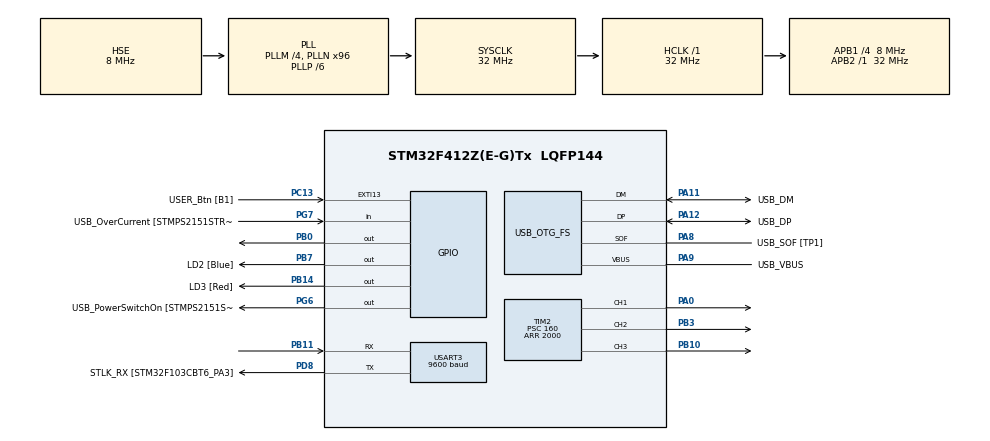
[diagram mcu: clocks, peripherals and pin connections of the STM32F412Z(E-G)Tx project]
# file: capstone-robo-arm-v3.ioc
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FREERTOS.Tasks01=TaskMoveMotor1,24,128,StartMoveMotor1,Default,NULL,Dynamic,NULL,NULL;TaskMoveMotor2,24,128,StartMoveMotor2,Default,NULL,Dynamic,NULL,NULL;TaskMoveMotor3,24,128,StartMoveMotor3,Default,NULL,Dynamic,NULL,NULL;TaskNewPosition,32,128,UpdatePosition,Default,NULL,Dynamic,NULL,NULL
FREERTOS.configUSE_NEWLIB_REENTRANT=1
Mcu.Family=STM32F4
Mcu.Name=STM32F412Z(E-G)Tx
Mcu.Package=LQFP144
NVIC.PriorityGroup=NVIC_PRIORITYGROUP_4
NVIC.TIM6_IRQn=true\:15\:0\:false\:false\:true\:false\:false\:true
NVIC.TimeBase=TIM6_IRQn
NVIC.TimeBaseIP=TIM6
NVIC.USART3_IRQn=true\:5\:0\:false\:false\:true\:true\:true\:true
PA0.Signal=S_TIM2_CH1_ETR
PA10.GPIO_Label=USB_ID
PA10.Signal=USB_OTG_FS_ID
PA11.GPIO_Label=USB_DM
PA11.Mode=Device_Only
PA11.Signal=USB_OTG_FS_DM
PA12.GPIO_Label=USB_DP
PA12.Mode=Device_Only
PA12.Signal=USB_OTG_FS_DP
PA13.GPIO_Label=TMS
PA13.Mode=Serial_Wire
PA13.Signal=SYS_JTMS-SWDIO
PA14.GPIO_Label=TCK
PA14.Mode=Serial_Wire
PA14.Signal=SYS_JTCK-SWCLK
PA8.GPIO_Label=USB_SOF [TP1]
PA8.Mode=Activate_SOF_FS
PA8.Signal=USB_OTG_FS_SOF
PA9.GPIO_Label=USB_VBUS
PA9.Mode=Activate_VBUS
PA9.Signal=USB_OTG_FS_VBUS
PB0.Signal=GPIO_Output
PB10.Signal=S_TIM2_CH3
PB11.Mode=Asynchronous
PB11.Signal=USART3_RX
PB14.GPIO_Label=LD3 [Red]
PB14.Signal=GPIO_Output
PB3.Signal=S_TIM2_CH2
PB7.GPIO_Label=LD2 [Blue]
PB7.Signal=GPIO_Output
PC13.GPIO_Label=USER_Btn [B1]
PC13.Signal=GPXTI13
PC14-OSC32_IN.Mode=LSE-External-Oscillator
PC14-OSC32_IN.Signal=RCC_OSC32_IN
PC15-OSC32_OUT.Mode=LSE-External-Oscillator
PC15-OSC32_OUT.Signal=RCC_OSC32_OUT
PD8.GPIO_Label=STLK_RX [STM32F103CBT6_PA3]
PD8.Mode=Asynchronous
PD8.Signal=USART3_TX
PG6.GPIO_Label=USB_PowerSwitchOn [STMPS2151STR_EN]
PG6.Signal=GPIO_Output
PG7.GPIO_Label=USB_OverCurrent [STMPS2151STR_FAULT]
PG7.Signal=GPIO_Input
PH0\ -\ OSC_IN.GPIO_Label=MCO
PH0\ -\ OSC_IN.Mode=HSE-External-Clock-Source
PH0\ -\ OSC_IN.Signal=RCC_OSC_IN
PH1\ -\ OSC_OUT.Mode=HSE-External-Clock-Source
PH1\ -\ OSC_OUT.Signal=RCC_OSC_OUT
ProjectManager.HeapSize=0x200
ProjectManager.StackSize=0x400
ProjectManager.TargetToolchain=STM32CubeIDE
RCC.48MHZClocksFreq_Value=24000000
RCC.AHBFreq_Value=32000000
RCC.APB1CLKDivider=RCC_HCLK_DIV4
RCC.APB1Freq_Value=8000000
RCC.APB1TimFreq_Value=16000000
RCC.APB2Freq_Value=32000000
RCC.APB2TimFreq_Value=32000000
RCC.CortexFreq_Value=32000000
RCC.HCLKFreq_Value=32000000
RCC.HSE_VALUE=8000000
RCC.HSI_VALUE=16000000
RCC.PLLM=4
RCC.PLLMUL=RCC_PLL_MUL9
RCC.PLLN=96
RCC.PLLP=RCC_PLLP_DIV6
RCC.PLLQ=4
RCC.PRESCALERUSB=RCC_USBCLKSOURCE_PLL_DIV1_5
RCC.SYSCLKFreq_VALUE=32000000
RCC.SYSCLKSource=RCC_SYSCLKSOURCE_PLLCLK
RCC.SYSCLKSourceVirtual=RCC_SYSCLKSOURCE_PLLCLK
RCC.USBFreq_Value=48000000
RCC.VCOOutputFreq_Value=192000000
SH.S_TIM2_CH1_ETR.0=TIM2_CH1,PWM Generation1 CH1
SH.S_TIM2_CH2.0=TIM2_CH2,PWM Generation2 CH2
SH.S_TIM2_CH3.0=TIM2_CH3,PWM Generation3 CH3
TIM2.Channel-PWM\ Generation1\ CH1=TIM_CHANNEL_1
TIM2.Channel-PWM\ Generation2\ CH2=TIM_CHANNEL_2
TIM2.Channel-PWM\ Generation3\ CH3=TIM_CHANNEL_3
TIM2.Period=2000
TIM2.Prescaler=160
TIM2.Pulse-PWM\ Generation1\ CH1=50
USART3.BaudRate=9600
USART3.Mode=MODE_RX
USART3.Parity=PARITY_ODD
USART3.VirtualMode=VM_ASYNC
USB_OTG_FS.VirtualMode=Device_Only
VP_FREERTOS_VS_CMSIS_V2.Mode=CMSIS_V2
VP_SYS_VS_tim6.Mode=TIM6
VP_TIM2_VS_ClockSourceINT.Mode=Internal
board=NUCLEO-F412ZG

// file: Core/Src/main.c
/* USER CODE BEGIN Header */
/**
  ******************************************************************************
  * @file           : main.c
  * @brief          : Main program body
  ******************************************************************************
  * @attention
  *
  * Copyright (c) 2022 STMicroelectronics.
  * All rights reserved.
  *
  * This software is licensed under terms that can be found in the LICENSE file
  * in the root directory of this software component.
  * If no LICENSE file comes with this software, it is provided AS-IS.
  *
  ******************************************************************************
  */
/* USER CODE END Header */
#include "main.h"
#include "cmsis_os.h"

/* USER CODE BEGIN Includes */
#include "stdint.h"

/* USER CODE END Includes */

/* USER CODE BEGIN PTD */
struct Motor {
	int id;
	int min;
	int max;
} motor;
/* USER CODE END PTD */

TIM_HandleTypeDef htim2;

UART_HandleTypeDef huart3;

PCD_HandleTypeDef hpcd_USB_OTG_FS;

/* Definitions for TaskMoveMotor1 */
osThreadId_t TaskMoveMotor1Handle;
const osThreadAttr_t TaskMoveMotor1_attributes = {
  .name = "TaskMoveMotor1",
  .stack_size = 128 * 4,
  .priority = (osPriority_t) osPriorityNormal,
};
/* Definitions for TaskMoveMotor2 */
osThreadId_t TaskMoveMotor2Handle;
const osThreadAttr_t TaskMoveMotor2_attributes = {
  .name = "TaskMoveMotor2",
  .stack_size = 128 * 4,
  .priority = (osPriority_t) osPriorityNormal,
};
/* Definitions for TaskMoveMotor3 */
osThreadId_t TaskMoveMotor3Handle;
const osThreadAttr_t TaskMoveMotor3_attributes = {
  .name = "TaskMoveMotor3",
  .stack_size = 128 * 4,
  .priority = (osPriority_t) osPriorityNormal,
};
/* Definitions for TaskNewPosition */
osThreadId_t TaskNewPositionHandle;
const osThreadAttr_t TaskNewPosition_attributes = {
  .name = "TaskNewPosition",
  .stack_size = 128 * 4,
  .priority = (osPriority_t) osPriorityAboveNormal,
};
/* USER CODE BEGIN PV */

int messageAngles1[] = {95, 120, 180, 130, 100, 160};
int messageAngles2[] = {105, 160, 110, 90, 100, 120};

int servoAnglesDefault[] = {110, 100};

int servoAngles2Servos[] = {110, 100}; //arbitrary default values

int messageIndex = 0;

uint8_t uartRxData[10];

int motorPositions[3];

/* USER CODE END PV */

void SystemClock_Config(void);
static void MX_GPIO_Init(void);
static void MX_USART3_UART_Init(void);
static void MX_USB_OTG_FS_PCD_Init(void);
static void MX_TIM2_Init(void);
void StartMoveMotor1(void *argument);
void StartMoveMotor2(void *argument);
void StartMoveMotor3(void *argument);
void UpdatePosition(void *argument);

/* USER CODE BEGIN PFP */
void servo_write(int);
void servo_sweep(void);
int map(int, int, int, int, int);
int angleToPosition(int);
/* USER CODE END PFP */

/* USER CODE BEGIN 0 */
struct Motor motor1;
struct Motor motor2;
struct Motor motor3;
struct Motor motor4;
struct Motor motor5;
struct Motor motor6;
/* USER CODE END 0 */

int main(void)
{
  /* USER CODE BEGIN 1 */
	motor1.id = 1;
	motor1.max = 160;
	motor1.min = 90;
	motor2.id = 2;
	motor2.max = 155;
	motor2.min = 155;
	motor3.id = 3;
	motor3.max = 254;
	motor3.min = 95;
	motor4.id = 4;
	motor4.max = 253;
	motor4.min = 45;
	motor5.id = 5;
	motor5.max = 253;
	motor5.min = 45;
	motor6.id = 6;
	motor6.max = 253;
	motor6.min = 45;

	uartRxData[0] = 100;
	uartRxData[1] = 100;
	uartRxData[2] = 100;

  /* USER CODE END 1 */

  /* MCU Configuration--------------------------------------------------------*/

  /* Reset of all peripherals, Initializes the Flash interface and the Systick. */
  HAL_Init();

  /* Configure the system clock */
  SystemClock_Config();

  /* Initialize all configured peripherals */
  MX_GPIO_Init();
  MX_USART3_UART_Init();
  MX_USB_OTG_FS_PCD_Init();
  MX_TIM2_Init();
  /* USER CODE BEGIN 2 */
  // start the timer
  HAL_TIM_PWM_Start(&htim2, TIM_CHANNEL_1);
  HAL_TIM_PWM_Start(&htim2, TIM_CHANNEL_2);

  /* USER CODE END 2 */

  /* Init scheduler */
  osKernelInitialize();

  /* Create the thread(s) */
  /* creation of TaskMoveMotor1 */
  TaskMoveMotor1Handle = osThreadNew(StartMoveMotor1, NULL, &TaskMoveMotor1_attributes);

  /* creation of TaskMoveMotor2 */
  TaskMoveMotor2Handle = osThreadNew(StartMoveMotor2, NULL, &TaskMoveMotor2_attributes);

  /* creation of TaskMoveMotor3 */
  TaskMoveMotor3Handle = osThreadNew(StartMoveMotor3, NULL, &TaskMoveMotor3_attributes);

  /* creation of TaskNewPosition */
  TaskNewPositionHandle = osThreadNew(UpdatePosition, NULL, &TaskNewPosition_attributes);

  /* USER CODE BEGIN RTOS_EVENTS */
  /* add events, ... */

  HAL_UART_Receive_IT(&huart3, uartRxData, 1);
  /* USER CODE END RTOS_EVENTS */

  /* Start scheduler */
  osKernelStart();

  /* We should never get here as control is now taken by the scheduler */
  /* Infinite loop */
  /* USER CODE BEGIN WHILE */
  while (1)
  {
	  //HAL_GPIO_TogglePin(GPIOB, GPIO_PIN_7);
	  //HAL_Delay(500);
	  //servo_sweep();

	  //only 2, probably first two are valid pulse widths
//	  htim2.Instance->CCR1 = 150;
//	  HAL_Delay(1000);
//	  htim2.Instance->CCR1 = 100;
//	  HAL_Delay(1000);
//	  htim2.Instance->CCR1 = 300;
//	  HAL_Delay(1000);
//	  htim2.Instance->CCR1 = 700;
//	  HAL_Delay(1000);
//	  htim2.Instance->CCR1 = 1000;
//	   HAL_Delay(1000);
	  //htim2.Instance->CCR1 = 1500;
	  //HAL_Delay(1000);

    /* USER CODE END WHILE */

  }
}

void SystemClock_Config(void)
{
  RCC_OscInitTypeDef RCC_OscInitStruct = {0};
  RCC_ClkInitTypeDef RCC_ClkInitStruct = {0};

  /** Configure the main internal regulator output voltage
  */
  __HAL_RCC_PWR_CLK_ENABLE();
  __HAL_PWR_VOLTAGESCALING_CONFIG(PWR_REGULATOR_VOLTAGE_SCALE1);
  /** Initializes the RCC Oscillators according to the specified parameters
  * in the RCC_OscInitTypeDef structure.
  */
  RCC_OscInitStruct.OscillatorType = RCC_OSCILLATORTYPE_HSE;
  RCC_OscInitStruct.HSEState = RCC_HSE_BYPASS;
  RCC_OscInitStruct.PLL.PLLState = RCC_PLL_ON;
  RCC_OscInitStruct.PLL.PLLSource = RCC_PLLSOURCE_HSE;
  RCC_OscInitStruct.PLL.PLLM = 4;
  RCC_OscInitStruct.PLL.PLLN = 96;
  RCC_OscInitStruct.PLL.PLLP = RCC_PLLP_DIV6;
  RCC_OscInitStruct.PLL.PLLQ = 4;
  RCC_OscInitStruct.PLL.PLLR = 2;
  if (HAL_RCC_OscConfig(&RCC_OscInitStruct) != HAL_OK)
  {
    Error_Handler();
  }
  /** Initializes the CPU, AHB and APB buses clocks
  */
  RCC_ClkInitStruct.ClockType = RCC_CLOCKTYPE_HCLK|RCC_CLOCKTYPE_SYSCLK
                              |RCC_CLOCKTYPE_PCLK1|RCC_CLOCKTYPE_PCLK2;
  RCC_ClkInitStruct.SYSCLKSource = RCC_SYSCLKSOURCE_PLLCLK;
  RCC_ClkInitStruct.AHBCLKDivider = RCC_SYSCLK_DIV1;
  RCC_ClkInitStruct.APB1CLKDivider = RCC_HCLK_DIV4;
  RCC_ClkInitStruct.APB2CLKDivider = RCC_HCLK_DIV1;

  if (HAL_RCC_ClockConfig(&RCC_ClkInitStruct, FLASH_LATENCY_1) != HAL_OK)
  {
    Error_Handler();
  }
}

static void MX_TIM2_Init(void)
{

  TIM_ClockConfigTypeDef sClockSourceConfig = {0};
  TIM_MasterConfigTypeDef sMasterConfig = {0};
  TIM_OC_InitTypeDef sConfigOC = {0};

  htim2.Instance = TIM2;
  htim2.Init.Prescaler = 160;
  htim2.Init.CounterMode = TIM_COUNTERMODE_UP;
  htim2.Init.Period = 2000;
  htim2.Init.ClockDivision = TIM_CLOCKDIVISION_DIV1;
  htim2.Init.AutoReloadPreload = TIM_AUTORELOAD_PRELOAD_DISABLE;
  if (HAL_TIM_Base_Init(&htim2) != HAL_OK)
  {
    Error_Handler();
  }
  sClockSourceConfig.ClockSource = TIM_CLOCKSOURCE_INTERNAL;
  if (HAL_TIM_ConfigClockSource(&htim2, &sClockSourceConfig) != HAL_OK)
  {
    Error_Handler();
  }
  if (HAL_TIM_PWM_Init(&htim2) != HAL_OK)
  {
    Error_Handler();
  }
  sMasterConfig.MasterOutputTrigger = TIM_TRGO_RESET;
  sMasterConfig.MasterSlaveMode = TIM_MASTERSLAVEMODE_DISABLE;
  if (HAL_TIMEx_MasterConfigSynchronization(&htim2, &sMasterConfig) != HAL_OK)
  {
    Error_Handler();
  }
  sConfigOC.OCMode = TIM_OCMODE_PWM1;
  sConfigOC.Pulse = 50;
  sConfigOC.OCPolarity = TIM_OCPOLARITY_HIGH;
  sConfigOC.OCFastMode = TIM_OCFAST_DISABLE;
  if (HAL_TIM_PWM_ConfigChannel(&htim2, &sConfigOC, TIM_CHANNEL_1) != HAL_OK)
  {
    Error_Handler();
  }
  sConfigOC.Pulse = 0;
  if (HAL_TIM_PWM_ConfigChannel(&htim2, &sConfigOC, TIM_CHANNEL_2) != HAL_OK)
  {
    Error_Handler();
  }
  if (HAL_TIM_PWM_ConfigChannel(&htim2, &sConfigOC, TIM_CHANNEL_3) != HAL_OK)
  {
    Error_Handler();
  }
  HAL_TIM_MspPostInit(&htim2);

}

static void MX_USART3_UART_Init(void)
{

  huart3.Instance = USART3;
  huart3.Init.BaudRate = 9600;
  huart3.Init.WordLength = UART_WORDLENGTH_8B;
  huart3.Init.StopBits = UART_STOPBITS_1;
  huart3.Init.Parity = UART_PARITY_ODD;
  huart3.Init.Mode = UART_MODE_RX;
  huart3.Init.HwFlowCtl = UART_HWCONTROL_NONE;
  huart3.Init.OverSampling = UART_OVERSAMPLING_16;
  if (HAL_UART_Init(&huart3) != HAL_OK)
  {
    Error_Handler();
  }

}

static void MX_USB_OTG_FS_PCD_Init(void)
{

  hpcd_USB_OTG_FS.Instance = USB_OTG_FS;
  hpcd_USB_OTG_FS.Init.dev_endpoints = 6;
  hpcd_USB_OTG_FS.Init.speed = PCD_SPEED_FULL;
  hpcd_USB_OTG_FS.Init.dma_enable = DISABLE;
  hpcd_USB_OTG_FS.Init.phy_itface = PCD_PHY_EMBEDDED;
  hpcd_USB_OTG_FS.Init.Sof_enable = ENABLE;
  hpcd_USB_OTG_FS.Init.low_power_enable = DISABLE;
  hpcd_USB_OTG_FS.Init.lpm_enable = DISABLE;
  hpcd_USB_OTG_FS.Init.battery_charging_enable = ENABLE;
  hpcd_USB_OTG_FS.Init.vbus_sensing_enable = ENABLE;
  hpcd_USB_OTG_FS.Init.use_dedicated_ep1 = DISABLE;
  if (HAL_PCD_Init(&hpcd_USB_OTG_FS) != HAL_OK)
  {
    Error_Handler();
  }

}

static void MX_GPIO_Init(void)
{
  GPIO_InitTypeDef GPIO_InitStruct = {0};

  /* GPIO Ports Clock Enable */
  __HAL_RCC_GPIOC_CLK_ENABLE();
  __HAL_RCC_GPIOH_CLK_ENABLE();
  __HAL_RCC_GPIOA_CLK_ENABLE();
  __HAL_RCC_GPIOB_CLK_ENABLE();
  __HAL_RCC_GPIOD_CLK_ENABLE();
  __HAL_RCC_GPIOG_CLK_ENABLE();

  /*Configure GPIO pin Output Level */
  HAL_GPIO_WritePin(GPIOB, GPIO_PIN_0|LD3_Pin|LD2_Pin, GPIO_PIN_RESET);

  /*Configure GPIO pin Output Level */
  HAL_GPIO_WritePin(USB_PowerSwitchOn_GPIO_Port, USB_PowerSwitchOn_Pin, GPIO_PIN_RESET);

  /*Configure GPIO pin : USER_Btn_Pin */
  GPIO_InitStruct.Pin = USER_Btn_Pin;
  GPIO_InitStruct.Mode = GPIO_MODE_IT_RISING;
  GPIO_InitStruct.Pull = GPIO_NOPULL;
  HAL_GPIO_Init(USER_Btn_GPIO_Port, &GPIO_InitStruct);

  /*Configure GPIO pins : PB0 LD3_Pin LD2_Pin */
  GPIO_InitStruct.Pin = GPIO_PIN_0|LD3_Pin|LD2_Pin;
  GPIO_InitStruct.Mode = GPIO_MODE_OUTPUT_PP;
  GPIO_InitStruct.Pull = GPIO_NOPULL;
  GPIO_InitStruct.Speed = GPIO_SPEED_FREQ_LOW;
  HAL_GPIO_Init(GPIOB, &GPIO_InitStruct);

  /*Configure GPIO pin : USB_PowerSwitchOn_Pin */
  GPIO_InitStruct.Pin = USB_PowerSwitchOn_Pin;
  GPIO_InitStruct.Mode = GPIO_MODE_OUTPUT_PP;
  GPIO_InitStruct.Pull = GPIO_NOPULL;
  GPIO_InitStruct.Speed = GPIO_SPEED_FREQ_LOW;
  HAL_GPIO_Init(USB_PowerSwitchOn_GPIO_Port, &GPIO_InitStruct);

  /*Configure GPIO pin : USB_OverCurrent_Pin */
  GPIO_InitStruct.Pin = USB_OverCurrent_Pin;
  GPIO_InitStruct.Mode = GPIO_MODE_INPUT;
  GPIO_InitStruct.Pull = GPIO_NOPULL;
  HAL_GPIO_Init(USB_OverCurrent_GPIO_Port, &GPIO_InitStruct);

}

/* USER CODE BEGIN 4 */
void HAL_UART_RxCpltCallback(UART_HandleTypeDef *huart)
{

  //do stuff here
  HAL_UART_Receive_IT(&huart3, uartRxData, 1);
}

void servo_write(int angle)
{
	//htim2.Instance->CCR1 = map(0,180,50,250,angle);
	htim2.Instance->CCR1 = angle;
}

void servo_sweep(void)
{
		for(int i = 50; i <= 250; i++)
		{
			servo_write(i);
			HAL_Delay(10);
		}
		for(int i = 250; i >= 50; i--)
		{
			servo_write(i);
			HAL_Delay(10);
		}
}

int map(int st1, int fn1, int st2, int fn2, int value)
{
    return (1.0*(value-st1))/((fn1-st1)*1.0) * (fn2-st2)+st2;
}

int angleToPosition(int angle)
{
	return 188/180 * angle + 65;
}
/* USER CODE END 4 */

void StartMoveMotor1(void *argument)
{
  /* USER CODE BEGIN 5 */
  /* Infinite loop */
  for(;;)
  {
	  //HAL_GPIO_TogglePin(GPIOB, GPIO_PIN_7);
	  //osDelay(100); //milliseconds

//	  htim2.Instance->CCR1 = 100;
//	  osDelay(500); //milliseconds
//	  htim2.Instance->CCR1 = 200;
//	  osDelay(500); //milliseconds

	  //htim2.Instance->CCR1 = motorPositions[1];
	  htim2.Instance->CCR1 = 160;

	  osDelay(210);

  }
  /* USER CODE END 5 */
}

void StartMoveMotor2(void *argument)
{
  /* USER CODE BEGIN StartMoveMotor2 */
  /* Infinite loop */
  for(;;)
  {
//	  htim2.Instance->CCR2 = 100;
//	  osDelay(500); //milliseconds
//	  htim2.Instance->CCR2 = 200;
//	  osDelay(500); //milliseconds

	  htim2.Instance->CCR2 = 160;
	  osDelay(220);
  }
  /* USER CODE END StartMoveMotor2 */
}

void StartMoveMotor3(void *argument)
{
  /* USER CODE BEGIN StartMoveMotor3 */
  /* Infinite loop */
  for(;;)
  {
	  htim2.Instance->CCR3 = motorPositions[0];

    osDelay(200);
  }
  /* USER CODE END StartMoveMotor3 */
}

void UpdatePosition(void *argument)
{
  /* USER CODE BEGIN UpdatePosition */
  /* Infinite loop */
  for(;;)
  {
	  //int pos0 = 1;
	  //int pos1 = 1;
	  //int pos2 = 1;
	  int pos0 = angleToPosition(uartRxData[0]);
	  //int pos1 = angleToPosition(uartRxData[1]);
	  //int pos2 = angleToPosition(uartRxData[2]);
	  if (pos0 < motor1.min) {
		  motorPositions[0] = motor1.min;
	  } else if (pos0 > motor1.max) {
		  motorPositions[0] = motor1.max;
	  } else {
		  motorPositions[0] = pos0;
	  }
//	  if (pos1 < motor2.min) {
//	  	  motorPositions[1] = motor2.min;
//	  } else if (pos1 > motor2.max) {
//	  	  motorPositions[1] = motor2.max;
//	  } else {
//	  	  motorPositions[1] = pos1;
//	  }
//	  if (pos2 < motor3.min) {
//	  	  motorPositions[2] = motor3.min;
//	  } else if (pos2 > motor3.max) {
//		  motorPositions[2] = motor3.max;
//	  } else {
//		  motorPositions[2] = pos2;
//  	  }

    osDelay(100);
  }
  /* USER CODE END UpdatePosition */
}

void HAL_TIM_PeriodElapsedCallback(TIM_HandleTypeDef *htim)
{
  if (htim->Instance == TIM6) {
    HAL_IncTick();
  }
}

void Error_Handler(void)
{
  __disable_irq();
  while (1)
  {
  }
}
